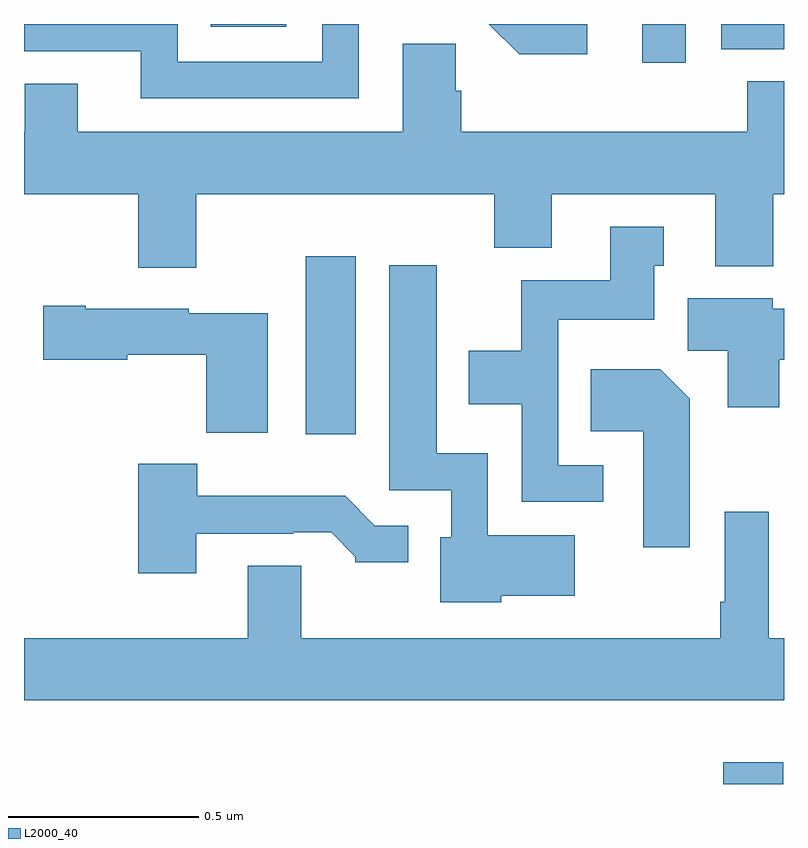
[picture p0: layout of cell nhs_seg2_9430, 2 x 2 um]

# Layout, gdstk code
import gdstk
lib = gdstk.Library(unit=1e-6, precision=1e-09)
def R(c, l, rs):  # rectangles x0, y0, x1, y1
    for r in rs: c.add(gdstk.rectangle(r[:2], r[2:], *l))
def P(c, l, *ps):  # polygons
    for p in ps: c.add(gdstk.Polygon(p, *l))
L2000_40 = (2000, 40)

nhs_seg2_9430 = lib.new_cell('nhs_seg2_9430')
R(nhs_seg2_9430, L2000_40, [(230.84,596.8,230.998,596.857), (229.742,597.72,229.873,598.189), (230.627,598.698,230.742,598.8), (230.835,598.734,231,598.8), (229.492,598.793,229.69,598.8)])
P(nhs_seg2_9430, L2000_40, [(230.482,598.8),(230.223,598.8),(230.303,598.721),(230.482,598.721)],
  [(229.881,598.8),(229.785,598.8),(229.785,598.701),(229.404,598.701),(229.404,598.8),(229,598.8),(229,598.728),(229.307,598.728),(229.307,598.605),(229.881,598.605)],
  [(229.453,598.352),(230.237,598.352),(230.237,598.211),(230.389,598.211),(230.389,598.352),(230.819,598.352),(230.819,598.163),(230.972,598.163),(230.972,598.352),(231,598.352),(231,598.649),(230.903,598.649),(230.903,598.516),(230.15,598.516),(230.15,598.625),(230.136,598.625),(230.136,598.748),(229.997,598.748),(229.997,598.516),(229.141,598.516),(229.141,598.643),(229.002,598.643),(229.002,598.516),(229,598.516),(229,598.352),(229.301,598.352),(229.301,598.158),(229.453,598.158)],
  [(230.524,597.639),(230.406,597.639),(230.406,598.022),(230.659,598.022),(230.659,598.164),(230.683,598.164),(230.683,598.267),(230.543,598.267),(230.543,598.126),(230.308,598.126),(230.308,597.94),(230.171,597.94),(230.171,597.8),(230.31,597.8),(230.31,597.543),(230.524,597.543)],
  [(230.256,597.296),(230.449,597.296),(230.449,597.454),(230.22,597.454),(230.22,597.67),(230.086,597.67),(230.086,598.165),(229.961,598.165),(229.961,597.573),(230.124,597.573),(230.124,597.45),(230.096,597.45),(230.096,597.278),(230.256,597.278)],
  [(230.987,597.917),(231,597.917),(231,598.051),(230.97,598.051),(230.97,598.078),(230.747,598.078),(230.747,597.94),(230.852,597.94),(230.852,597.792),(230.987,597.792)],
  [(229.642,598.039),(229.434,598.039),(229.434,598.051),(229.162,598.051),(229.162,598.059),(229.05,598.059),(229.05,597.917),(229.272,597.917),(229.272,597.929),(229.48,597.929),(229.48,597.725),(229.642,597.725)],
  [(230.752,597.814),(230.674,597.892),(230.491,597.892),(230.491,597.728),(230.63,597.728),(230.63,597.423),(230.752,597.423)],
  [(229.453,597.459),(229.709,597.459),(229.709,597.462),(229.808,597.462),(229.872,597.398),(229.872,597.383),(230.011,597.383),(230.011,597.48),(229.923,597.48),(229.845,597.559),(229.456,597.559),(229.456,597.643),(229.301,597.643),(229.301,597.354),(229.453,597.354)],
  [(231,597.184),(230.96,597.184),(230.96,597.517),(230.844,597.517),(230.844,597.28),(230.832,597.28),(230.832,597.184),(229.729,597.184),(229.729,597.374),(229.589,597.374),(229.589,597.184),(229,597.184),(229,597.02),(231,597.02)])

lib.write_gds('nhs_seg2_9430.gds')
